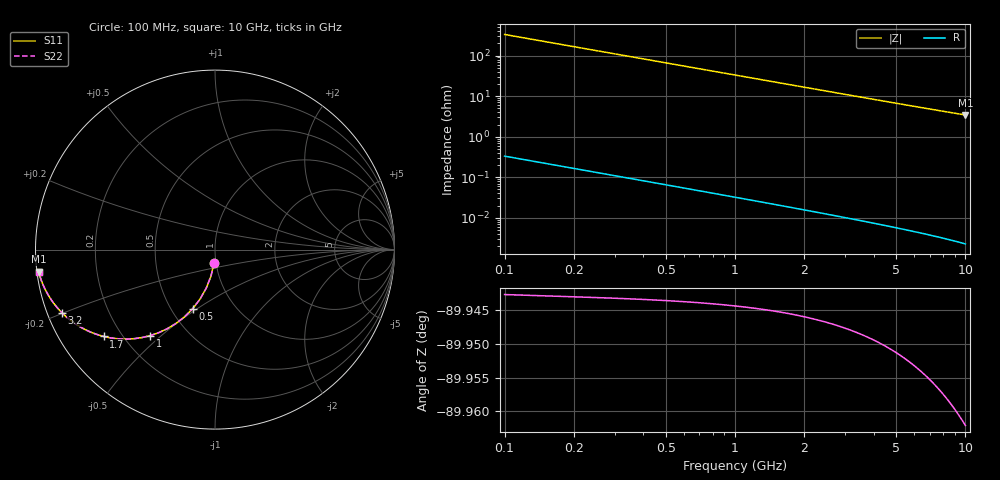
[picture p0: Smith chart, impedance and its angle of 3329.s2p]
# Hz S RI R 50.00
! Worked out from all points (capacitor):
!   100 points, 100 MHz to 10 GHz, reference 50 ohm
!   read as one part in shunt: C = 4.79 pF near 100 MHz
!   lowest |Z| = 3.44 ohm at 10 GHz (marker M1)
!   S11 on the Smith chart (normalised r, x): 100 MHz: 0.98, -0.15; 500 MHz: 0.64, -0.48; 1 GHz: 0.31, -0.46; 1.7 GHz: 0.13, -0.34; 3.2 GHz: 0.04, -0.20; 10 GHz: 0.00, -0.06
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1e8  -0.00566 -0.0748  0.9942 -0.0749  0.9942 -0.0749  -0.00566 -0.0748
2e8  -0.0223 -0.1471  0.9776 -0.1473  0.9776 -0.1473  -0.0223 -0.1471
3e8  -0.0487 -0.2146  0.9512 -0.215  0.9512 -0.215  -0.0487 -0.2146
4e8  -0.0833 -0.2757  0.9166 -0.2762  0.9166 -0.2762  -0.0833 -0.2757
5e8  -0.1243 -0.3292  0.8756 -0.3298  0.8756 -0.3298  -0.1243 -0.3292
6e8  -0.1697 -0.3745  0.8302 -0.3753  0.8302 -0.3753  -0.1697 -0.3745
7e8  -0.2176 -0.4117  0.7823 -0.4125  0.7823 -0.4125  -0.2176 -0.4117
8e8  -0.2664 -0.4411  0.7335 -0.4421  0.7335 -0.4421  -0.2664 -0.4411
1e9  -0.3619 -0.4794  0.638 -0.4807  0.638 -0.4807  -0.3619 -0.4794
1.3e9  -0.4893 -0.4986  0.5106 -0.5002  0.5106 -0.5002  -0.4893 -0.4986
1.7e9  -0.6208 -0.4836  0.3791 -0.4857  0.3791 -0.4857  -0.6208 -0.4836
1.8e9  -0.6473 -0.4762  0.3526 -0.4784  0.3526 -0.4784  -0.6473 -0.4762
2.1e9  -0.7141 -0.45  0.2858 -0.4526  0.2858 -0.4526  -0.7141 -0.45
2.4e9  -0.7654 -0.4218  0.2345 -0.4247  0.2345 -0.4247  -0.7654 -0.4218
2.8e9  -0.8161 -0.3851  0.1837 -0.3885  0.1837 -0.3885  -0.8161 -0.3851
3.2e9  -0.8529 -0.3517  0.147 -0.3556  0.147 -0.3556  -0.8529 -0.3517
3.4e9  -0.8675 -0.3364  0.1324 -0.3406  0.1324 -0.3406  -0.8675 -0.3364
4.2e9  -0.909 -0.2845  0.0909 -0.2895  0.0909 -0.2895  -0.909 -0.2845
5.1e9  -0.9364 -0.2402  0.0634 -0.2464  0.0634 -0.2464  -0.9364 -0.2402
6.7e9  -0.9622 -0.1858  0.0376 -0.194  0.0376 -0.194  -0.9622 -0.1858
8.4e9  -0.9757 -0.148  0.0241 -0.1583  0.0241 -0.1583  -0.9757 -0.148
1e10  -0.9828 -0.1229  0.017 -0.1353  0.017 -0.1353  -0.9828 -0.1229
